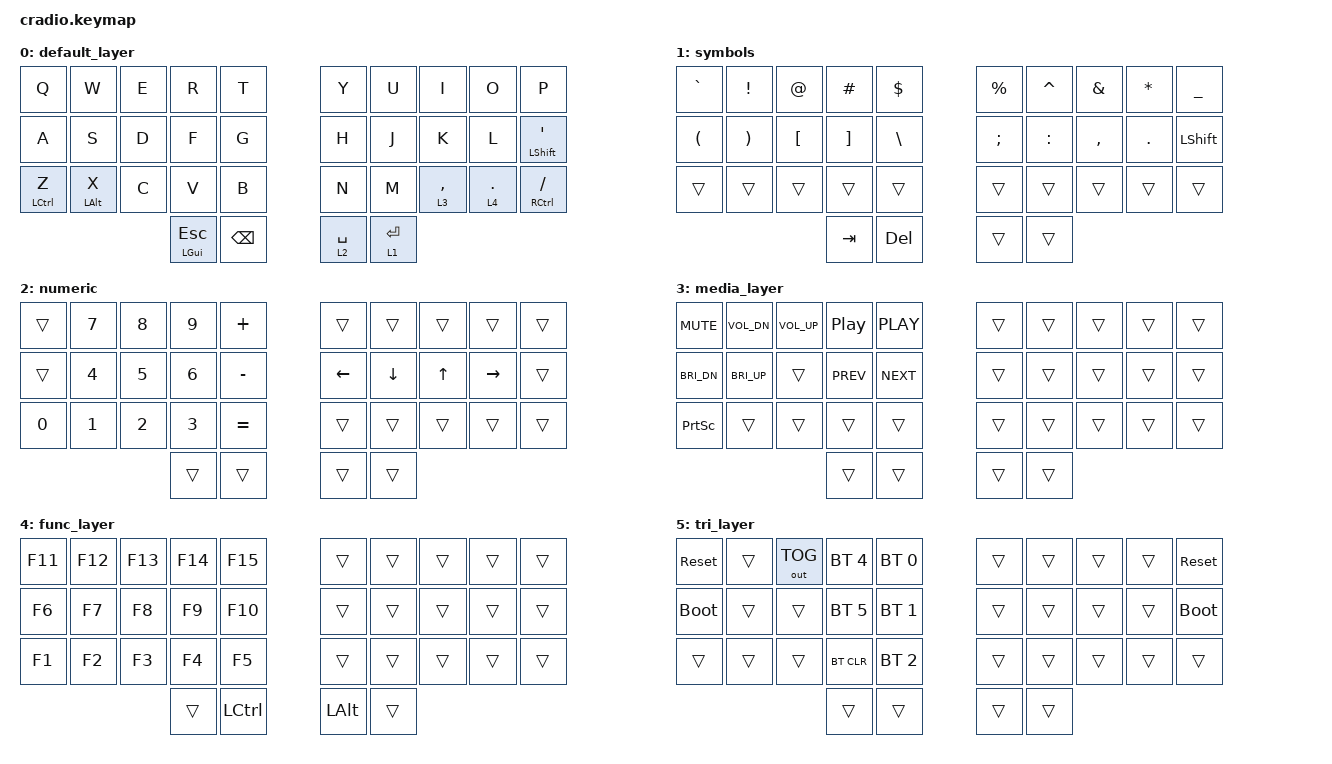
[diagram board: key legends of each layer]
// Copyright (c) 2022 The ZMK Contributors
// SPDX-License-Identifier: MIT

#include <behaviors.dtsi>
#include <dt-bindings/zmk/bt.h>
#include <dt-bindings/zmk/keys.h>
#include <dt-bindings/zmk/outputs.h>

// Lower row mods macro
// define LMLR(k1,k2,k3) &ht LCTRL k1  &ht LALT k2  &ht LSHFT k3

/ {
    combos {
        compatible = "zmk,combos";

        lsh {
            bindings = <&kp LSHFT>;
            key-positions = <31 30>;
        };
    };

    behaviors {
        ht: hold_tap {
            label = "hold_tap";
            compatible = "zmk,behavior-hold-tap";
            #binding-cells = <2>;
            flavor = "balanced";
            tapping-term-ms = <200>;
            quick-tap-ms = <150>;
            global-quick-tap;
            bindings = <&kp>, <&kp>;
        };
    };

    conditional_layers {
        compatible = "zmk,conditional-layers";

        tri_layer {
            if-layers = <1 4>;
            then-layer = <5>;
        };
    };

    macros {
        lsh: lsh {
            compatible = "zmk,behavior-macro";
            #binding-cells = <0>;
            bindings = <&none>;
            label = "LSH";
        };
    };

    keymap {
        compatible = "zmk,keymap";

        default_layer {
            bindings = <
&kp Q        &kp W           &kp E  &kp R         &kp T       &kp Y        &kp U        &kp I        &kp O         &kp P
&kp A        &kp S           &kp D  &kp F         &kp G       &kp H        &kp J        &kp K        &kp L         &mt LEFT_SHIFT SINGLE_QUOTE
&mt LCTRL Z  &mt LEFT_ALT X  &kp C  &kp V         &kp B       &kp N        &kp M        &lt 3 COMMA  &lt 4 PERIOD  &mt RCTRL SLASH
                                    &mt LGUI ESC  &kp BSPC    &lt 2 SPACE  &lt 1 ENTER
            >;
        };

        symbols {
            bindings = <
&kp GRAVE             &kp EXCLAMATION        &kp AT_SIGN       &kp HASH           &kp DOLLAR       &kp PERCENT    &kp CARET  &kp AMPERSAND  &kp STAR    &kp UNDERSCORE
&kp LEFT_PARENTHESIS  &kp RIGHT_PARENTHESIS  &kp LEFT_BRACKET  &kp RIGHT_BRACKET  &kp BACKSLASH    &kp SEMICOLON  &kp COLON  &kp COMMA      &kp PERIOD  &kp LEFT_SHIFT
&trans                &trans                 &trans            &trans             &trans           &trans         &trans     &trans         &trans      &trans
                                                               &kp TAB            &kp DEL          &trans         &trans
            >;
        };

        numeric {
            bindings = <
&trans  &kp N7  &kp N8  &kp N9  &kp PLUS     &trans    &trans    &trans  &trans     &trans
&trans  &kp N4  &kp N5  &kp N6  &kp MINUS    &kp LEFT  &kp DOWN  &kp UP  &kp RIGHT  &trans
&kp N0  &kp N1  &kp N2  &kp N3  &kp EQUAL    &trans    &trans    &trans  &trans     &trans
                        &trans  &trans       &trans    &trans
            >;
        };

        media_layer {
            bindings = <
&kp C_MUTE    &kp C_VOL_DN  &kp C_VOL_UP  &kp C_PP    &kp C_PLAY    &trans  &trans  &trans  &trans  &trans
&kp C_BRI_DN  &kp C_BRI_UP  &trans        &kp C_PREV  &kp C_NEXT    &trans  &trans  &trans  &trans  &trans
&kp PSCRN     &trans        &trans        &trans      &trans        &trans  &trans  &trans  &trans  &trans
                                          &trans      &trans        &trans  &trans
            >;
        };

        func_layer {
            bindings = <
&kp F11  &kp F12  &kp F13  &kp F14  &kp F15      &trans    &trans  &trans  &trans  &trans
&kp F6   &kp F7   &kp F8   &kp F9   &kp F10      &trans    &trans  &trans  &trans  &trans
&kp F1   &kp F2   &kp F3   &kp F4   &kp F5       &trans    &trans  &trans  &trans  &trans
                           &trans   &kp LCTRL    &kp LALT  &trans
            >;
        };

        tri_layer {
            bindings = <
&sys_reset   &trans  &out OUT_TOG  &bt BT_SEL 4  &bt BT_SEL 0    &trans  &trans  &trans  &trans  &sys_reset
&bootloader  &trans  &trans        &bt BT_SEL 5  &bt BT_SEL 1    &trans  &trans  &trans  &trans  &bootloader
&trans       &trans  &trans        &bt BT_CLR    &bt BT_SEL 2    &trans  &trans  &trans  &trans  &trans
                                   &trans        &trans          &trans  &trans
            >;
        };
    };
};
